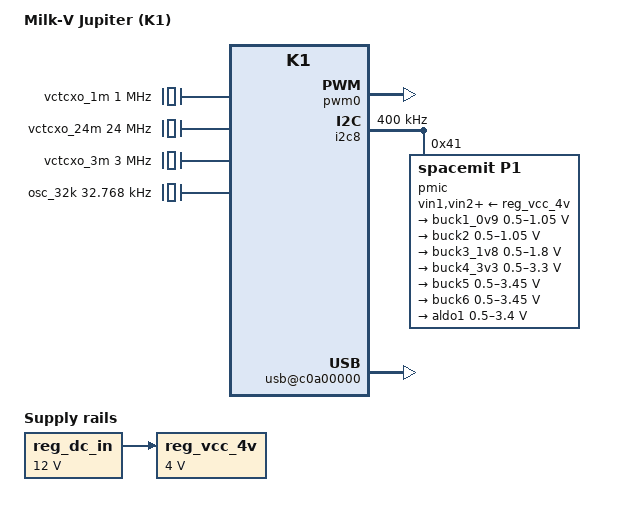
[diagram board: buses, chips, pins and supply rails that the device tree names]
// SPDX-License-Identifier: Apache-2.0 OR GPL-2.0-only
// SPDX-FileCopyrightText: 2026 Fernando Rodriguez
// SpacemiT K1, Milk-V Jupiter: the nodes the K1 clock providers and the
// temperature block read, with the
// values of the Linux v7.3 trees (read for facts, nothing copied verbatim):
//   arch/riscv/boot/dts/spacemit/k1.dtsi            cpus, clocks, thermal
//     zones, syscon_apbc / thermal / i2c8 / syscon_mpmu / pll / syscon_apmu
//     (the register windows), cpu clocks <&syscon_apmu CLK_CPU_Cn_CORE>
//   arch/riscv/boot/dts/spacemit/k1-opp.dtsi        the two OPP tables
//   arch/riscv/boot/dts/spacemit/k1-milkv-jupiter.dts  cpu-supply = <&buck1_0v9>
//     for all eight CPUs, the P1 PMIC at 0x41 on i2c8 and its buck constraints
// Left out: everything no K1 provider reads (caches, interrupt controllers,
// peripherals other than the ones above), the LDO limits other than aldo1
// (one LDO stays to show LDOs are not providers), and `status = "okay"` is
// the default here. Numbers the Linux tree writes as K1_* or CLK_* macros are
// resolved by hand: CLK_CPU_C0_CORE 2, CLK_CPU_C1_CORE 6, CLK_TSEN 48,
// CLK_TSEN_BUS 98, RESET_TSEN 48, CLK_TWSI8 39, CLK_TWSI8_BUS 91, RESET_TWSI8 39
// (include/dt-bindings/clock/spacemit,k1-syscon.h).
// Rebuild: dtc -I dts -O dtb -o k1-jupiter.dtb k1-jupiter.dts
/dts-v1/;
/ {
	#address-cells = <2>;
	#size-cells = <2>;
	model = "Milk-V Jupiter (K1)";
	compatible = "milkv,jupiter", "spacemit,k1";

	cpus {
		#address-cells = <1>;
		#size-cells = <0>;
		timebase-frequency = <24000000>;
		cpu_0: cpu@0 { device_type = "cpu"; compatible = "spacemit,x60", "riscv"; reg = <0>; clocks = <&syscon_apmu 2>; cpu-supply = <&buck1_0v9>; operating-points-v2 = <&cluster0_opp_table>; };
		cpu_1: cpu@1 { device_type = "cpu"; compatible = "spacemit,x60", "riscv"; reg = <1>; clocks = <&syscon_apmu 2>; cpu-supply = <&buck1_0v9>; operating-points-v2 = <&cluster0_opp_table>; };
		cpu_2: cpu@2 { device_type = "cpu"; compatible = "spacemit,x60", "riscv"; reg = <2>; clocks = <&syscon_apmu 2>; cpu-supply = <&buck1_0v9>; operating-points-v2 = <&cluster0_opp_table>; };
		cpu_3: cpu@3 { device_type = "cpu"; compatible = "spacemit,x60", "riscv"; reg = <3>; clocks = <&syscon_apmu 2>; cpu-supply = <&buck1_0v9>; operating-points-v2 = <&cluster0_opp_table>; };
		cpu_4: cpu@4 { device_type = "cpu"; compatible = "spacemit,x60", "riscv"; reg = <4>; clocks = <&syscon_apmu 6>; cpu-supply = <&buck1_0v9>; operating-points-v2 = <&cluster1_opp_table>; };
		cpu_5: cpu@5 { device_type = "cpu"; compatible = "spacemit,x60", "riscv"; reg = <5>; clocks = <&syscon_apmu 6>; cpu-supply = <&buck1_0v9>; operating-points-v2 = <&cluster1_opp_table>; };
		cpu_6: cpu@6 { device_type = "cpu"; compatible = "spacemit,x60", "riscv"; reg = <6>; clocks = <&syscon_apmu 6>; cpu-supply = <&buck1_0v9>; operating-points-v2 = <&cluster1_opp_table>; };
		cpu_7: cpu@7 { device_type = "cpu"; compatible = "spacemit,x60", "riscv"; reg = <7>; clocks = <&syscon_apmu 6>; cpu-supply = <&buck1_0v9>; operating-points-v2 = <&cluster1_opp_table>; };
	};

	clocks {
		vctcxo_1m: clock-1m { compatible = "fixed-clock"; clock-frequency = <1000000>; clock-output-names = "vctcxo_1m"; #clock-cells = <0>; };
		vctcxo_24m: clock-24m { compatible = "fixed-clock"; clock-frequency = <24000000>; clock-output-names = "vctcxo_24m"; #clock-cells = <0>; };
		vctcxo_3m: clock-3m { compatible = "fixed-clock"; clock-frequency = <3000000>; clock-output-names = "vctcxo_3m"; #clock-cells = <0>; };
		osc_32k: clock-32k { compatible = "fixed-clock"; clock-frequency = <32768>; clock-output-names = "osc_32k"; #clock-cells = <0>; };
	};

	cluster0_opp_table: opp-table-cluster0 {
		compatible = "operating-points-v2";
		opp-shared;
		opp-614400000 { opp-hz = /bits/ 64 <614400000>; opp-microvolt = <950000 950000 1050000>; clock-latency-ns = <200000>; };
		opp-819000000 { opp-hz = /bits/ 64 <819000000>; opp-microvolt = <950000 950000 1050000>; clock-latency-ns = <200000>; };
		opp-1000000000 { opp-hz = /bits/ 64 <1000000000>; opp-microvolt = <950000 950000 1050000>; clock-latency-ns = <200000>; };
		opp-1228800000 { opp-hz = /bits/ 64 <1228800000>; opp-microvolt = <950000 950000 1050000>; clock-latency-ns = <200000>; };
		opp-1600000000 { opp-hz = /bits/ 64 <1600000000>; opp-microvolt = <1050000 1050000 1050000>; clock-latency-ns = <200000>; };
	};

	cluster1_opp_table: opp-table-cluster1 {
		compatible = "operating-points-v2";
		opp-shared;
		opp-614400000 { opp-hz = /bits/ 64 <614400000>; opp-microvolt = <950000 950000 1050000>; clock-latency-ns = <200000>; };
		opp-819000000 { opp-hz = /bits/ 64 <819000000>; opp-microvolt = <950000 950000 1050000>; clock-latency-ns = <200000>; };
		opp-1000000000 { opp-hz = /bits/ 64 <1000000000>; opp-microvolt = <950000 950000 1050000>; clock-latency-ns = <200000>; };
		opp-1228800000 { opp-hz = /bits/ 64 <1228800000>; opp-microvolt = <950000 950000 1050000>; clock-latency-ns = <200000>; };
		opp-1600000000 { opp-hz = /bits/ 64 <1600000000>; opp-microvolt = <1050000 1050000 1050000>; clock-latency-ns = <200000>; };
	};

	thermal-zones {
		soc-thermal {
			polling-delay-passive = <0>; polling-delay = <0>;
			thermal-sensors = <&thermal 0>;
			trips { soc-crit { temperature = <115000>; hysteresis = <0>; type = "critical"; }; };
		};
		package-thermal {
			polling-delay-passive = <0>; polling-delay = <0>;
			thermal-sensors = <&thermal 1>;
			trips { package-crit { temperature = <115000>; hysteresis = <0>; type = "critical"; }; };
		};
		gpu-thermal {
			polling-delay-passive = <100>; polling-delay = <0>;
			thermal-sensors = <&thermal 2>;
			trips {
				gpu-alert { temperature = <85000>; hysteresis = <2000>; type = "passive"; };
				gpu-crit { temperature = <115000>; hysteresis = <0>; type = "critical"; };
			};
		};
		cluster0-thermal {
			polling-delay-passive = <100>; polling-delay = <0>;
			thermal-sensors = <&thermal 3>;
			trips {
				cluster0-alert { temperature = <85000>; hysteresis = <2000>; type = "passive"; };
				cluster0-crit { temperature = <115000>; hysteresis = <0>; type = "critical"; };
			};
		};
		cluster1-thermal {
			polling-delay-passive = <100>; polling-delay = <0>;
			thermal-sensors = <&thermal 4>;
			trips {
				cluster1-alert { temperature = <85000>; hysteresis = <2000>; type = "passive"; };
				cluster1-crit { temperature = <115000>; hysteresis = <0>; type = "critical"; };
			};
		};
	};

	reg_dc_in: regulator-dc-in-12v {
		compatible = "regulator-fixed";
		regulator-name = "dc_in_12v";
		regulator-min-microvolt = <12000000>;
		regulator-max-microvolt = <12000000>;
		regulator-boot-on;
		regulator-always-on;
	};

	reg_vcc_4v: regulator-vcc-4v {
		compatible = "regulator-fixed";
		regulator-name = "vcc_4v";
		regulator-min-microvolt = <4000000>;
		regulator-max-microvolt = <4000000>;
		regulator-boot-on;
		regulator-always-on;
		vin-supply = <&reg_dc_in>;
	};

	soc {
		compatible = "simple-bus";
		#address-cells = <2>;
		#size-cells = <2>;
		ranges;

		syscon_apbc: system-controller@d4015000 {
			compatible = "spacemit,k1-syscon-apbc";
			reg = <0x0 0xd4015000 0x0 0x1000>;
			clocks = <&osc_32k>, <&vctcxo_1m>, <&vctcxo_3m>, <&vctcxo_24m>;
			clock-names = "osc", "vctcxo_1m", "vctcxo_3m", "vctcxo_24m";
			#clock-cells = <1>;
			#reset-cells = <1>;
		};

		thermal: thermal@d4018000 {
			compatible = "spacemit,k1-tsensor";
			reg = <0x0 0xd4018000 0x0 0x100>;
			clocks = <&syscon_apbc 48>, <&syscon_apbc 98>;
			clock-names = "core", "bus";
			resets = <&syscon_apbc 48>;
			#thermal-sensor-cells = <1>;
		};

		/* gpio and pwm0 as k1.dtsi (Linux v7.2.9) has them, minus the
		 * interrupt and gpio-ranges properties the bind never reads; every
		 * clock and reset of both is the (unmodelled) APBC controller's. */
		gpio: gpio@d4019000 {
			compatible = "spacemit,k1-gpio";
			reg = <0x0 0xd4019000 0x0 0x100>;
			clocks = <&syscon_apbc 9>, <&syscon_apbc 61>;
			clock-names = "core", "bus";
			gpio-controller;
			#gpio-cells = <3>;
		};

		pwm0: pwm@d401a000 {
			compatible = "spacemit,k1-pwm", "marvell,pxa910-pwm";
			reg = <0x0 0xd401a000 0x0 0x10>;
			#pwm-cells = <3>;
			clocks = <&syscon_apbc 10>;
			resets = <&syscon_apbc 10>;
		};

		i2c8: i2c@d401d800 {
			compatible = "spacemit,k1-i2c";
			reg = <0x0 0xd401d800 0x0 0x38>;
			#address-cells = <1>;
			#size-cells = <0>;
			clocks = <&syscon_apbc 39>, <&syscon_apbc 91>;
			clock-names = "func", "bus";
			clock-frequency = <400000>;
			resets = <&syscon_apbc 39>;

			pmic@41 {
				compatible = "spacemit,p1";
				reg = <0x41>;
				vin1-supply = <&reg_vcc_4v>;
				vin2-supply = <&reg_vcc_4v>;
				vin3-supply = <&reg_vcc_4v>;
				vin4-supply = <&reg_vcc_4v>;
				vin5-supply = <&reg_vcc_4v>;
				vin6-supply = <&reg_vcc_4v>;
				aldoin-supply = <&reg_vcc_4v>;

				regulators {
					buck1_0v9: buck1 {
						regulator-min-microvolt = <500000>;
						regulator-max-microvolt = <1050000>;
						regulator-ramp-delay = <5000>;
						regulator-always-on;
					};
					buck2 {
						regulator-min-microvolt = <500000>;
						regulator-max-microvolt = <1050000>;
						regulator-ramp-delay = <5000>;
						regulator-always-on;
					};
					buck3_1v8: buck3 {
						regulator-min-microvolt = <500000>;
						regulator-max-microvolt = <1800000>;
						regulator-ramp-delay = <5000>;
						regulator-always-on;
					};
					buck4_3v3: buck4 {
						regulator-min-microvolt = <500000>;
						regulator-max-microvolt = <3300000>;
						regulator-ramp-delay = <5000>;
						regulator-always-on;
					};
					buck5: buck5 {
						regulator-min-microvolt = <500000>;
						regulator-max-microvolt = <3450000>;
						regulator-ramp-delay = <5000>;
						regulator-always-on;
					};
					buck6 {
						regulator-min-microvolt = <500000>;
						regulator-max-microvolt = <3450000>;
						regulator-ramp-delay = <5000>;
						regulator-always-on;
					};
					aldo1: aldo1 {
						regulator-min-microvolt = <500000>;
						regulator-max-microvolt = <3400000>;
						regulator-boot-on;
					};
				};
			};
		};

		// A consumer of an APMU clock the provider does not model
		// (CLK_USB30 is 16): it must come out "not modelled", not as an error.
		usb@c0a00000 {
			compatible = "spacemit,k1-dwc3";
			reg = <0x0 0xc0a00000 0x0 0x10000>;
			clocks = <&syscon_apmu 16>;
		};

		syscon_mpmu: system-controller@d4050000 {
			compatible = "spacemit,k1-syscon-mpmu";
			reg = <0x0 0xd4050000 0x0 0x209c>;
			clocks = <&osc_32k>, <&vctcxo_1m>, <&vctcxo_3m>, <&vctcxo_24m>;
			clock-names = "osc", "vctcxo_1m", "vctcxo_3m", "vctcxo_24m";
			#clock-cells = <1>;
			#power-domain-cells = <1>;
			#reset-cells = <1>;
		};

		pll: clock-controller@d4090000 {
			compatible = "spacemit,k1-pll";
			reg = <0x0 0xd4090000 0x0 0x1000>;
			clocks = <&vctcxo_24m>;
			spacemit,mpmu = <&syscon_mpmu>;
			#clock-cells = <1>;
		};

		syscon_apmu: system-controller@d4282800 {
			compatible = "spacemit,k1-syscon-apmu";
			reg = <0x0 0xd4282800 0x0 0x400>;
			clocks = <&osc_32k>, <&vctcxo_1m>, <&vctcxo_3m>, <&vctcxo_24m>;
			clock-names = "osc", "vctcxo_1m", "vctcxo_3m", "vctcxo_24m";
			#clock-cells = <1>;
			#power-domain-cells = <1>;
			#reset-cells = <1>;
		};
	};
};
